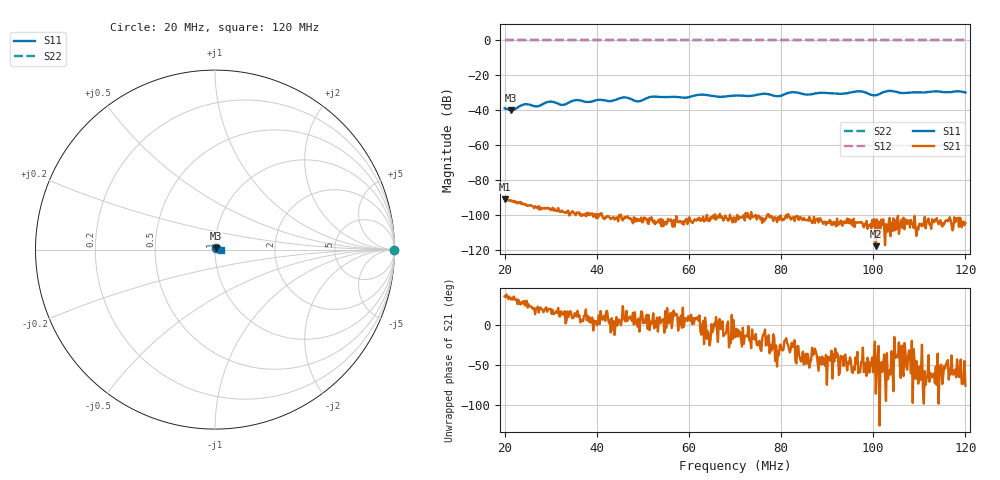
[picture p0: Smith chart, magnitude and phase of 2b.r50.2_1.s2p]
! Anritsu VNA Master:  Model: MS2036C/10/77
! SN:  1601066
! /card0/usr/18may27.balun/252b.r50.2_1.s2p
! Existing Calibration Information:
! TYPE:  Current Settings,  Active Cal Settings
! TIME:  05/27/2018 12:35:31 PM,  05/27/2018 12:21:44 PM
! INTERNAL TEMP:  53.5 C,  53.3 C
! # POINTS:  500,  500
! START FREQ:  20.000 MHz,  20.000 MHz
! STOP FREQ:  120.000 MHz,  120.000 MHz
! SOURCE POWER:  High,  High
! IFBW:  50 Hz,  50 Hz
! AVG FACTOR:  1 ,  1
! REF PLANE 1:  0 mm,  0 mm
! REF PLANE 2:  0 mm,  0 mm
! CAL TYPE:  Full S11,  Full S11
! CAL METHOD:  SOLT,  SOLT
! CAL LINE TYPE:  Coax,  Coax
! DUT PORT 1:  K-Conn(M),  K-Conn(M)
! DUT PORT 2:  K-Conn(M),  K-Conn(M)
! CAL STATUS:  OK: Accuracy High,  --
# GHZ S DB R 50.0
! FREQ.GHZ  S11DB  S11A  S21DB  S21A  S12DB  S12A  S22DB  S22A
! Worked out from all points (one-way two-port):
!   500 points, 20 MHz to 120 MHz, reference 50 ohm
!   highest |S21| = -91.07 dB at 20 MHz (marker M1); lowest = -118.0 dB at 100.6 MHz (marker M2)
!   lowest |S11| = -40.1 dB at 21.4 MHz (marker M3), VSWR 1.02, Z = 50.6 + j0.757 ohm
!   |S11| at or under -10 dB: start of sweep to end of sweep
!   |S22| runs from 0.0 to 0.0 dB; largest |S21 - S12| = 1
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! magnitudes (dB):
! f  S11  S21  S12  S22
! 20 MHz  -38.9  -91.1  0.0  0.0
! 21.4 MHz  -40.1  -91.7  0.0  0.0
! 24.41 MHz  -36.5  -93.9  0.0  0.0
! 27.21 MHz  -37.8  -96.3  0.0  0.0
! 30.02 MHz  -35.1  -97.3  0.0  0.0
! 32.63 MHz  -36.9  -98.3  0.0  0.0
! 35.23 MHz  -34.3  -99.3  0.0  0.0
! 36.83 MHz  -34.6  -100.6  0.0  0.0
! 43.05 MHz  -34.8  -102.5  0.0  0.0
! 46.05 MHz  -32.7  -101.1  0.0  0.0
! 49.06 MHz  -34.9  -102.4  0.0  0.0
! 53.47 MHz  -32.4  -102.8  0.0  0.0
! 70.1 MHz  -31.6  -104.2  0.0  0.0
! 76.31 MHz  -30.5  -103.7  0.0  0.0
! 79.32 MHz  -31.9  -101.3  0.0  0.0
! 82.53 MHz  -29.6  -102.0  0.0  0.0
! 86.73 MHz  -30.8  -104.7  0.0  0.0
! 96.95 MHz  -29.2  -104.5  0.0  0.0
! 100.6 MHz  -31.4  -118.0  0.0  0.0
! 103.4 MHz  -28.9  -104.1  0.0  0.0
! 106.6 MHz  -30.2  -101.6  0.0  0.0
! 120 MHz  -29.8  -104.7  0.0  0.0
